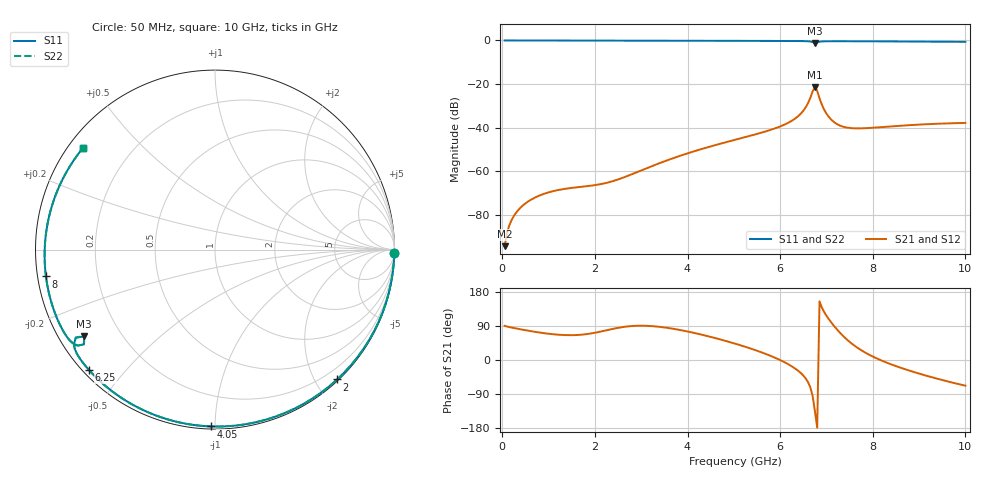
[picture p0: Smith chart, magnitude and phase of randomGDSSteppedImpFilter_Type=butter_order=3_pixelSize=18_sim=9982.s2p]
! freq	dB(S11)	phase(S11)	dB(S12)	phase(S12)
!  dB(S21)	phase(S21)	dB(S22)	phase(S22)
!S-par simulation data
#  GHz  S  DB  R 50
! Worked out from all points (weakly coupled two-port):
!   200 points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, 50 MHz to 10 GHz, reference 50 ohm
!   highest |S21| = -21.40 dB at 6.75 GHz (marker M1); lowest = -94.4 dB at 50 MHz (marker M2)
!   lowest |S11| = -1.1 dB at 6.75 GHz (marker M3), VSWR 15.16, Z = 3.6 - j15 ohm
!   |S11| at or under -10 dB: nowhere
!   |S22| runs from -1.2 to 0.0 dB; largest |S21 - S12| = 0
!   S11 on the Smith chart (normalised r, x): 50 MHz: open; 2 GHz: 0.02, -2.31; 4.05 GHz: 0.01, -0.98; 6.25 GHz: 0.02, -0.40; 8 GHz: 0.02, -0.08; 10 GHz: 0.04, +0.34
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0.05  -0.00 -1.2  -94.39 90.2  -94.39 90.2  -0.00 -1.2
0.25  -0.01 -5.9  -80.53 84.4  -80.53 84.4  -0.01 -5.9
0.55  -0.02 -13.1  -73.99 77.5  -73.99 77.5  -0.02 -13.1
0.9  -0.03 -21.3  -70.37 70.8  -70.37 70.8  -0.03 -21.3
1.75  -0.05 -41.1  -67.05 67.3  -67.05 67.3  -0.05 -41.1
2  -0.06 -46.7  -66.38 71.8  -66.38 71.8  -0.06 -46.8
2.5  -0.07 -58.0  -63.77 84.9  -63.77 84.9  -0.07 -58.0
3.4  -0.10 -77.5  -56.27 87.5  -56.27 87.5  -0.10 -77.6
4.05  -0.13 -91.2  -51.46 73.9  -51.46 73.9  -0.13 -91.3
5.05  -0.17 -111.8  -45.44 42.3  -45.44 42.3  -0.17 -111.8
6.25  -0.25 -136.2  -36.88 -16.6  -36.88 -16.6  -0.25 -136.3
6.5  -0.30 -141.9  -32.26 -41.1  -32.26 -41.1  -0.30 -142.0
6.6  -0.38 -144.6  -28.86 -57.9  -28.86 -57.9  -0.38 -144.7
6.7  -0.74 -147.6  -23.47 -94.2  -23.47 -94.2  -0.75 -147.7
6.75  -1.15 -146.5  -21.40 -134.6  -21.40 -134.6  -1.17 -146.6
6.95  -0.41 -147.9  -31.75 126.6  -31.75 126.6  -0.41 -147.9
7.2  -0.35 -153.9  -38.02 84.5  -38.02 84.5  -0.35 -153.9
7.5  -0.37 -160.3  -40.16 47.8  -40.16 47.8  -0.37 -160.4
8  -0.41 -171.0  -40.06 9.1  -40.06 9.1  -0.41 -171.0
8.35  -0.45 -178.6  -39.51 -9.3  -39.51 -9.3  -0.45 -178.6
9.2  -0.55 162.1  -38.39 -43.0  -38.39 -43.0  -0.55 162.1
10  -0.65 142.4  -37.84 -67.9  -37.84 -67.9  -0.65 142.4
